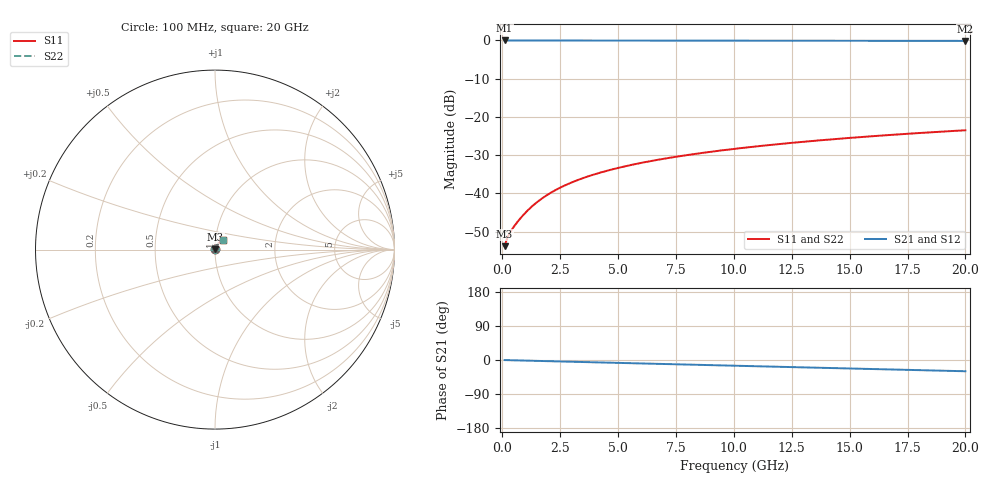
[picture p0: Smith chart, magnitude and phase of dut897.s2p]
! Touchstone file exported from HFSS 2026.1.0
!  File:  C:/ffzhzh/LocalFiles/Ansys_Project_Files/temp_train_TMRDL_897_1783157748_51560.aedt
!  Generated:  05:36:55 PM Jul  4, 2026
!  Design:  TMRDL
!  Project:  temp_train_TMRDL_897_1783157748_51560
! Variables:
!  h_bsmrdl = 2um
!  h_ox = 20um
!  h_rdl = 5um
!  h_sub = 80um
!  h_tmrdl = 4.65um
!  h_tsv = 80um
!  h_via = 3um
!  l_bsmrdl = 300um
!  l_sub = 919.44um
!  l_tmrdl = 519.44um
!  m_sub = 200um
!  pitch = 31.45um
!  r_tsv = 6um
!  s_tmrdl = 10um
!  w_bsmrdl = 18um
!  w_sub = 500um
!  w_tmrdl = 24.39um
!  x_tsv_center1 = 531.635um
!  x_tsv_center2 = 849.635um
!  x_tsv_center3 = 1393.465um
!  x_tsv_center4 = 1711.465um
!  x_tsv_center5 = 2255.295um
!  x_tsv_center6 = 2573.295um
# GHz S MA R 50.000000
! Terminal data exported
! Port[1] = TM_RDL1_1_T1
! Port[2] = TM_RDL1_1_T2
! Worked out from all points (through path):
!   200 points, 100 MHz to 20 GHz, reference 50 ohm
!   highest |S21| = -0.02 dB at 100 MHz (marker M1); lowest = -0.1 dB at 20 GHz (marker M2)
!   group delay of S21, straight-line fit = 4.11 ps
!   lowest |S11| = -53.8 dB at 100 MHz (marker M3), VSWR 1.00, Z = 50.2 + j0.0809 ohm
!   |S11| at or under -10 dB: start of sweep to end of sweep
!   |S22| runs from -53.8 to -23.5 dB; largest |S21 - S12| = 3.1e-15
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0.1  0.002051 23.2  0.9981 -0.2  0.9981 -0.2  0.002051 23.2
! Gamma 0 0 0 0
! Port Impedance 50 0 50 0
0.2  0.002556 32.7  0.9979 -0.3  0.9979 -0.3  0.002557 32.7
0.3  0.002973 37.8  0.9976 -0.5  0.9976 -0.5  0.002976 37.8
0.5  0.003694 45.8  0.9974 -0.8  0.9974 -0.8  0.003698 45.8
0.7  0.004429 52.0  0.9972 -1.1  0.9972 -1.1  0.004432 52.0
0.9  0.00521 56.6  0.9971 -1.4  0.9971 -1.4  0.005211 56.6
1.3  0.006861 62.3  0.9969 -2.0  0.9969 -2.0  0.00686 62.3
1.5  0.007707 64.0  0.9968 -2.3  0.9968 -2.3  0.007706 64.0
1.8  0.008982 65.7  0.9966 -2.8  0.9966 -2.8  0.00898 65.7
2.3  0.01109 67.2  0.9962 -3.6  0.9962 -3.6  0.01109 67.2
2.9  0.01356 67.8  0.9958 -4.5  0.9958 -4.5  0.01355 67.8
3.5  0.01594 67.8  0.9953 -5.4  0.9953 -5.4  0.01594 67.8
4.2  0.01862 67.5  0.9947 -6.4  0.9947 -6.4  0.01862 67.5
5  0.02157 66.8  0.994 -7.6  0.994 -7.6  0.02157 66.8
5.9  0.02476 65.9  0.9933 -9.0  0.9933 -9.0  0.02476 66.0
6.8  0.02785 65.0  0.9926 -10.3  0.9926 -10.3  0.02785 65.1
8.3  0.03281 63.4  0.9915 -12.5  0.9915 -12.5  0.03281 63.5
10.1  0.03853 61.5  0.9904 -15.2  0.9904 -15.2  0.03853 61.5
11.7  0.04346 59.7  0.9894 -17.5  0.9894 -17.5  0.04346 59.8
13.4  0.04856 57.8  0.9885 -20.0  0.9885 -20.0  0.04856 57.8
16.7  0.05805 53.8  0.9867 -24.9  0.9867 -24.9  0.05806 53.9
20  0.06699 49.7  0.9851 -29.7  0.9851 -29.7  0.067 49.8
